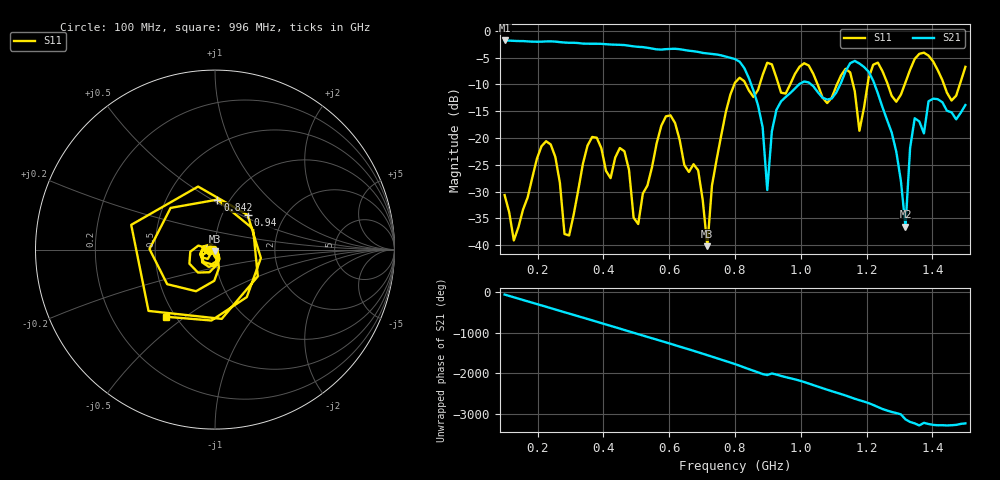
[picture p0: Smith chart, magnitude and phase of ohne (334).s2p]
! NanoVNA-App
! Date: 2025-09-25 14:23:23
! Start: 100MHz Stop: 1,5GHz Points: 101
! S-Parameter data: F S11 S21 S12 S22
# Hz S RI R 50
!  Frequency  S11_Real  S11_Imag  S21_Real  S21_Imag  S12_Real  S12_Imag  S22_Real  S22_Imag
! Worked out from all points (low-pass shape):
!   101 points, 100 MHz to 1.5 GHz, reference 50 ohm
!   highest |S21| = -1.79 dB at 100 MHz (marker M1); lowest = -36.5 dB at 1.318 GHz (marker M2)
!   |S21| within 3 dB of the highest: start of sweep to 771.2 MHz
!   lowest |S11| = -40.2 dB at 716 MHz (marker M3), VSWR 1.02, Z = 49.8 - j0.952 ohm
!   |S11| at or under -10 dB: start of sweep to 797.9 MHz; 833 MHz to 875.1 MHz (42.08 MHz wide, 4.93 % of centre); 1.051 GHz to 1.11 GHz (58.76 MHz wide, 5.44 % of centre) (the widest 3 of 7)
!   S12 and S22 are empty: the file has one direction only
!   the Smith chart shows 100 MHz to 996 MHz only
!   S11 on the Smith chart (normalised r, x): 100 MHz: 0.94, -0.01; 842 MHz: 0.88, +0.53; 940 MHz: 1.32, +0.55; 996 MHz: 0.45, -0.43
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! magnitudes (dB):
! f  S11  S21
! 100 MHz  -30.6  -1.8
! 128 MHz  -39.1  -1.9
! 226 MHz  -20.6  -2.0
! 296 MHz  -38.2  -2.2
! 338 MHz  -24.8  -2.4
! 464 MHz  -22.5  -2.7
! 506 MHz  -36.0  -3.0
! 576 MHz  -17.7  -3.5
! 688 MHz  -26.0  -3.9
! 716 MHz  -40.2  -4.2
! 800 MHz  -9.7  -5.3
! 842 MHz  -11.1  -8.8
! 898 MHz  -6.0  -29.7
! 940 MHz  -11.5  -13.2
! 996 MHz  -6.7  -9.9
! 1.038 GHz  -8.0  -10.3
! 1.178 GHz  -18.6  -6.1
! 1.22 GHz  -6.3  -9.3
! 1.276 GHz  -12.1  -19.0
! 1.318 GHz  -9.6  -36.5
! 1.346 GHz  -5.2  -16.3
! 1.5 GHz  -6.7  -13.8
